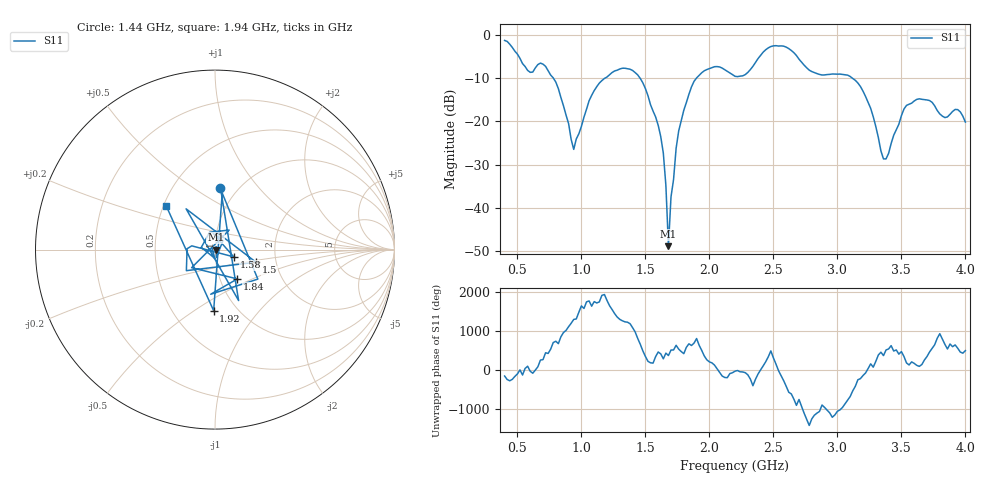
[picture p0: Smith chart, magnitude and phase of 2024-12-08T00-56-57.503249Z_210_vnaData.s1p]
!Created with skrf (http://scikit-rf.org).
# Hz S RI R 50.0
!freq ReS11 ImS11
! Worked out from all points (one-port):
!   181 points, 400 MHz to 4 GHz, reference 50 ohm
!   lowest |S11| = -48.8 dB at 1.68 GHz (marker M1), VSWR 1.01, Z = 50.4 + j0.04 ohm
!   |S11| at or under -10 dB: 780.6 MHz to 1.185 GHz (404.7 MHz wide, 41.2 % of centre); 1.458 GHz to 1.899 GHz (441.5 MHz wide, 26.3 % of centre); 3.115 GHz to end of sweep
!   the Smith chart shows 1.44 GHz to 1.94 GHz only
!   S11 on the Smith chart (normalised r, x): 1.44 GHz: 0.83, +0.65; 1.5 GHz: 1.57, -0.23; 1.58 GHz: 1.23, -0.10; 1.84 GHz: 1.21, -0.41; 1.92 GHz: 0.78, -0.60; 1.94 GHz: 0.52, +0.29
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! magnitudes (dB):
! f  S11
! 400 MHz  -1.3
! 600 MHz  -8.7
! 720 MHz  -7.3
! 860 MHz  -16.4
! 940 MHz  -26.5
! 1.1 GHz  -12.9
! 1.3 GHz  -7.9
! 1.44 GHz  -9.3
! 1.5 GHz  -12.4
! 1.58 GHz  -19.0
! 1.64 GHz  -27.3
! 1.66 GHz  -34.8
! 1.68 GHz  -48.8
! 1.7 GHz  -37.5
! 1.76 GHz  -22.2
! 1.84 GHz  -13.8
! 1.92 GHz  -9.4
! 1.94 GHz  -8.8
! 2.2 GHz  -9.6
! 2.48 GHz  -2.7
! 2.66 GHz  -4.1
! 2.8 GHz  -8.5
! 3.1 GHz  -9.6
! 3.26 GHz  -17.0
! 3.36 GHz  -28.7
! 3.56 GHz  -16.0
! 3.72 GHz  -15.2
! 4 GHz  -20.2
